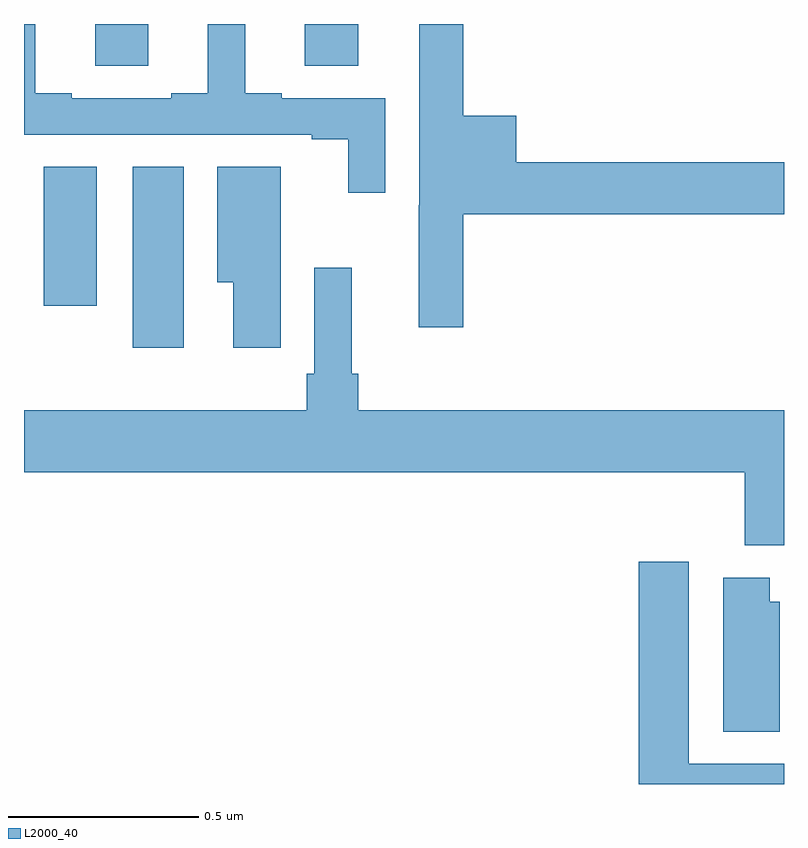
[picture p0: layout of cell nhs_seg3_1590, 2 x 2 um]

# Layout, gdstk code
import gdstk
lib = gdstk.Library(unit=1e-6, precision=1e-09)
def R(c, l, rs):  # rectangles x0, y0, x1, y1
    for r in rs: c.add(gdstk.rectangle(r[:2], r[2:], *l))
def P(c, l, *ps):  # polygons
    for p in ps: c.add(gdstk.Polygon(p, *l))
L2000_40 = (2000, 40)

nhs_seg3_1590 = lib.new_cell('nhs_seg3_1590')
R(nhs_seg3_1590, L2000_40, [(130.286,730.548,130.42,731.024), (130.052,730.659,130.192,731.024), (130.187,731.29,130.327,731.4), (130.739,731.29,130.879,731.4)])
P(nhs_seg3_1590, L2000_40, [(131.156,730.9),(132,730.9),(132,731.036),(131.296,731.036),(131.296,731.158),(131.156,731.158),(131.156,731.4),(131.04,731.4),(131.04,730.923),(131.039,730.923),(131.039,730.602),(131.156,730.602)],
  [(130.95,731.205),(130.678,731.205),(130.678,731.218),(130.582,731.218),(130.582,731.4),(130.484,731.4),(130.484,731.218),(130.388,731.218),(130.388,731.205),(130.126,731.205),(130.126,731.218),(130.03,731.218),(130.03,731.4),(130,731.4),(130,731.109),(130.757,731.109),(130.757,731.097),(130.853,731.097),(130.853,730.956),(130.95,730.956)],
  [(130.675,731.024),(130.508,731.024),(130.508,730.721),(130.55,730.721),(130.55,730.548),(130.675,730.548)],
  [(132,730.384),(130.88,730.384),(130.88,730.48),(130.862,730.48),(130.862,730.759),(130.764,730.759),(130.764,730.48),(130.744,730.48),(130.744,730.384),(130,730.384),(130,730.22),(131.897,730.22),(131.897,730.028),(132,730.028)],
  [(132,729.453),(131.749,729.453),(131.749,729.985),(131.618,729.985),(131.618,729.4),(132,729.4)],
  [(131.989,729.879),(131.962,729.879),(131.962,729.943),(131.84,729.943),(131.84,729.538),(131.989,729.538)])

lib.write_gds('nhs_seg3_1590.gds')
